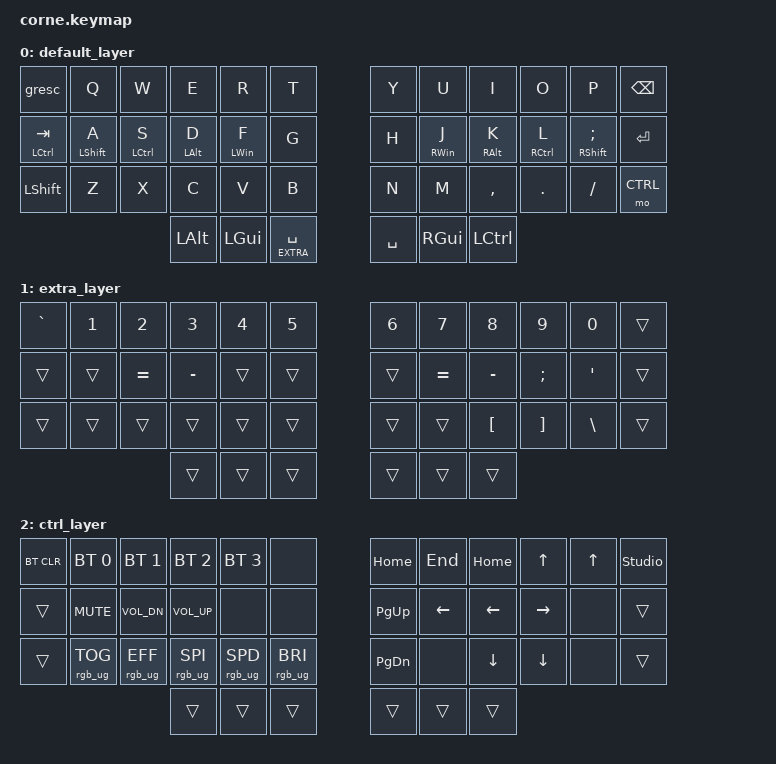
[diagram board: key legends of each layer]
#include <behaviors.dtsi>
#include <dt-bindings/zmk/bt.h>
#include <dt-bindings/zmk/keys.h>
#include <dt-bindings/zmk/outputs.h>
#include <dt-bindings/zmk/rgb.h>

#define DEFAULT 0
#define EXTRA   1
#define CTRL    2

#define A_SHFT &hm LSHIFT A
#define S_CTRL &hm LCTRL S
#define D_LALT &hm LALT D
#define F_LGUI &hm LWIN F
#define J_RGUI &hm RWIN J
#define K_RALT &hm RALT K
#define L_CTRL &hm RCTRL L
#define S_SHFT &hm RSHIFT SEMI

/ {
    behaviors {
        hm: homerow_mods {
          compatible = "zmk,behavior-hold-tap";
          label = "homerow mods";
          #binding-cells = <2>;
          tapping_term_ms = <200>;
          flavor = "balanced";
          bindings = <&kp>, <&kp>;
        };
    };
    keymap {
        compatible = "zmk,keymap";

        default_layer {
            bindings = <
&gresc         &kp Q  &kp W  &kp E      &kp R     &kp T            &kp Y     &kp U    &kp I      &kp O    &kp P     &kp BSPC
&mt LCTRL TAB  A_SHFT S_CTRL D_LALT     F_LGUI    &kp G            &kp H     J_RGUI   K_RALT     L_CTRL   S_SHFT    &kp RET
&kp LSHFT      &kp Z  &kp X  &kp C      &kp V     &kp B            &kp N     &kp M    &kp COMMA  &kp DOT  &kp FSLH  &mo CTRL
                             &kp LALT   &kp LGUI  &lt EXTRA SPACE  &kp SPACE &kp RGUI &kp LCTRL
            >;
        };

        extra_layer {
            bindings = <
&kp GRAVE  &kp N1  &kp N2    &kp N3     &kp N4  &kp N5  &kp N6     &kp N7     &kp N8    &kp N9    &kp N0   &trans
&trans     &trans  &kp EQUAL &kp MINUS  &trans  &trans  &trans     &kp EQUAL  &kp MINUS &kp SEMI  &kp SQT  &trans
&trans     &trans  &trans    &trans     &trans  &trans  &trans     &trans     &kp LBKT  &kp RBKT  &kp BSLH &trans 
                             &trans     &trans  &trans  &trans     &trans     &trans
            >;
        };


        ctrl_layer {
            bindings = <
&bt BT_CLR  &bt BT_SEL 0     &bt BT_SEL 1     &bt BT_SEL 2     &bt BT_SEL 3     &none              &kp HOME         &kp END    &kp HOME   &kp UP     &kp UP  &studio_unlock
&trans      &kp K_MUTE       &kp C_VOL_DN     &kp C_VOL_UP     &none            &none              &kp PG_UP        &kp LEFT   &kp LEFT   &kp RIGHT  &none   &trans
&trans      &rgb_ug RGB_TOG  &rgb_ug RGB_EFF  &rgb_ug RGB_SPI  &rgb_ug RGB_SPD  &rgb_ug RGB_BRI    &kp PG_DN        &none      &kp DOWN   &kp DOWN   &none   &trans 
                                              &trans           &trans           &trans             &trans           &trans     &trans
            >;
        };

        extra1 {
            status = "reserved";
        };

        extra2 {
            status = "reserved";
        };
    };
};
